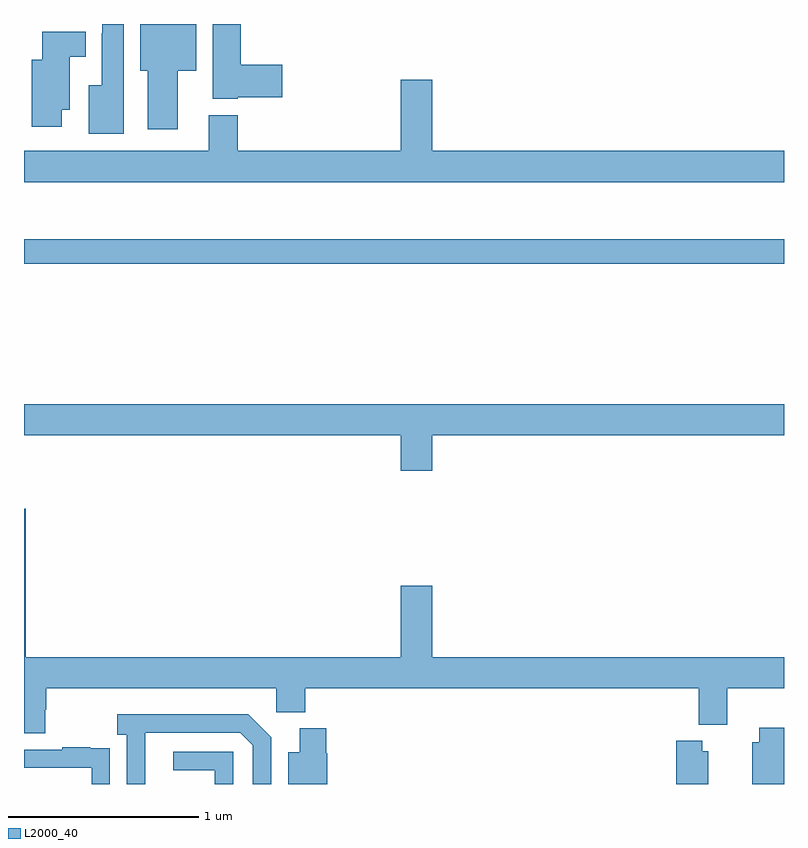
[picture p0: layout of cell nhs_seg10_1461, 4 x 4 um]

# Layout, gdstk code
import gdstk
lib = gdstk.Library(unit=1e-6, precision=1e-09)
def R(c, l, rs):  # rectangles x0, y0, x1, y1
    for r in rs: c.add(gdstk.rectangle(r[:2], r[2:], *l))
def P(c, l, *ps):  # polygons
    for p in ps: c.add(gdstk.Polygon(p, *l))
L2000_40 = (2000, 40)

nhs_seg10_1461 = lib.new_cell('nhs_seg10_1461')
R(nhs_seg10_1461, L2000_40, [(187,1281.238,191,1281.367)])
P(nhs_seg10_1461, L2000_40, [(188.124,1282.115),(188.359,1282.115),(188.359,1282.286),(188.141,1282.286),(188.141,1282.5),(187.994,1282.5),(187.994,1282.106),(188.124,1282.106)],
  [(187.525,1282.5),(187.413,1282.5),(187.413,1282.451),(187.409,1282.451),(187.409,1282.177),(187.34,1282.177),(187.34,1281.923),(187.525,1281.923)],
  [(187.81,1282.253),(187.906,1282.253),(187.906,1282.5),(187.613,1282.5),(187.613,1282.253),(187.652,1282.253),(187.652,1281.945),(187.81,1281.945)],
  [(187.198,1282.049),(187.24,1282.049),(187.24,1282.328),(187.324,1282.328),(187.324,1282.459),(187.097,1282.459),(187.097,1282.312),(187.04,1282.312),(187.04,1281.96),(187.198,1281.96)],
  [(191,1281.832),(189.148,1281.832),(189.148,1282.207),(188.984,1282.207),(188.984,1281.832),(188.126,1281.832),(188.126,1282.021),(187.973,1282.021),(187.973,1281.832),(187,1281.832),(187,1281.668),(191,1281.668)],
  [(189.148,1280.336),(191,1280.336),(191,1280.5),(187,1280.5),(187,1280.336),(188.984,1280.336),(188.984,1280.148),(189.148,1280.148)],
  [(187.113,1278.891),(187.118,1278.891),(187.118,1279.004),(188.328,1279.004),(188.328,1278.878),(188.48,1278.878),(188.48,1279.004),(190.55,1279.004),(190.55,1278.812),(190.702,1278.812),(190.702,1279.004),(191,1279.004),(191,1279.168),(189.148,1279.168),(189.148,1279.543),(188.984,1279.543),(188.984,1279.168),(187.01,1279.168),(187.01,1279.948),(187,1279.948),(187,1278.766),(187.113,1278.766)],
  [(187.638,1278.771),(188.139,1278.771),(188.205,1278.705),(188.205,1278.5),(188.301,1278.5),(188.301,1278.747),(188.18,1278.868),(187.491,1278.868),(187.491,1278.758),(187.542,1278.758),(187.542,1278.5),(187.638,1278.5)],
  [(191,1278.796),(190.871,1278.796),(190.871,1278.721),(190.832,1278.721),(190.832,1278.5),(191,1278.5)],
  [(188.597,1278.663),(188.591,1278.663),(188.591,1278.793),(188.45,1278.793),(188.45,1278.667),(188.39,1278.667),(188.39,1278.5),(188.597,1278.5)],
  [(190.6,1278.673),(190.57,1278.673),(190.57,1278.727),(190.433,1278.727),(190.433,1278.5),(190.6,1278.5)],
  [(187.452,1278.578),(187.451,1278.578),(187.451,1278.687),(187.349,1278.687),(187.349,1278.694),(187.201,1278.694),(187.201,1278.681),(187,1278.681),(187,1278.585),(187.356,1278.585),(187.356,1278.5),(187.452,1278.5)],
  [(188.1,1278.669),(187.785,1278.669),(187.785,1278.573),(188.004,1278.573),(188.004,1278.5),(188.1,1278.5)])

lib.write_gds('nhs_seg10_1461.gds')
